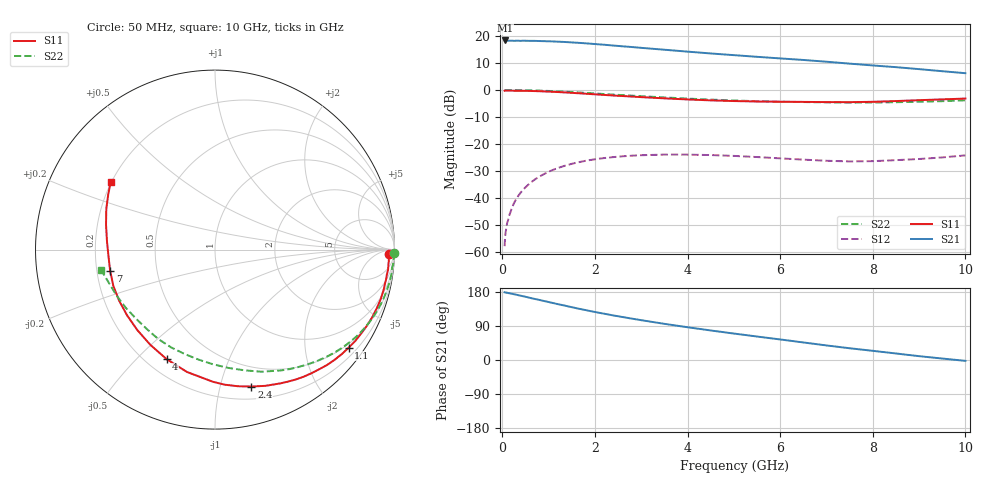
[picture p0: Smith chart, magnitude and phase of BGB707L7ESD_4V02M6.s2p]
! (c) 2009  Infineon Technologies AG, Munich
!  Infineon Technologies AG
!  BGB707L7ESD RU919007 w#7 Sample Build #08493 Teil Nr. 3
!  Vce = 4.0V, Ic = 2.6mA
!  DATUM: 30.06.2009 10:57:57
# GHz  S  MA  R  50
!f  S11  S21  S12  S22
!GHz  Mag  Ang  Mag  Ang  Mag  Ang  Mag  Ang
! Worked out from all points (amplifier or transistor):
!   52 points, 50 MHz to 10 GHz, reference 50 ohm
!   highest |S21| = 18.3 dB at 60 MHz (marker M1)
!   |S21| within 3 dB of that: start of sweep to 3.189 GHz
!   unconditionally stable (mu >= 1): 6.901 GHz to end of sweep
!   at 130 MHz: K = 0.06, MSG = 33.1 dB, |S12| = -47.8 dB
!   at 1.4 GHz: K = 0.08, MSG = 22.8 dB, |S12| = -27.8 dB
!   at 10 GHz: K = 1.05, MAG = 13.9 dB, |S12| = -24.2 dB
!   lowest NFmin = 0.40 dB at 100 MHz
!   S11 on the Smith chart (normalised r, x): 50 MHz: 36, -32; 1.1 GHz: 0.40, -3.01; 2.4 GHz: 0.31, -1.25; 4 GHz: 0.28, -0.61; 7 GHz: 0.26, -0.09; 10 GHz: 0.20, +0.29
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0.05  0.9694 -1.6  8.112 178.8  0.001279 68.5  0.9967 -1.0
0.06  0.9761 -2.0  8.259 178.5  0.001899 84.5  0.9974 -1.2
0.08  0.9698 -2.5  8.114 177.8  0.002559 81.6  0.9973 -1.8
0.09  0.9703 -3.1  8.182 178.2  0.002894 82.2  0.9971 -2.0
0.1  0.9694 -3.4  8.144 177.3  0.003239 83.0  0.9967 -2.2
0.15  0.97 -4.9  8.15 176.2  0.00474 84.0  0.9958 -3.4
0.35  0.9657 -11.6  8.152 170.9  0.01108 80.9  0.992 -8.0
0.7  0.9535 -23.3  8.115 161.2  0.02189 73.8  0.9783 -16.1
1.1  0.9237 -36.3  7.918 150.2  0.03323 65.1  0.9508 -25.1
1.5  0.8844 -48.8  7.596 139.3  0.04284 56.6  0.9138 -33.8
1.8  0.8526 -58.0  7.312 131.7  0.04874 50.7  0.8831 -39.9
2.2  0.8094 -69.7  6.884 122.1  0.05483 43.5  0.8413 -47.6
2.4  0.7894 -75.1  6.647 117.5  0.0571 40.1  0.8211 -51.2
2.8  0.7545 -85.9  6.238 109.1  0.06064 34.2  0.7843 -58.1
3.5  0.6995 -102.9  5.563 95.4  0.06351 25.5  0.7279 -69.2
4  0.6671 -113.8  5.13 86.4  0.06343 20.5  0.6924 -76.3
4.5  0.6415 -124.1  4.745 78.0  0.06226 16.7  0.6633 -83.6
5.5  0.6117 -143.2  4.112 62.0  0.05723 12.1  0.6195 -98.6
6.5  0.6013 -160.3  3.595 46.3  0.05128 13.3  0.5971 -114.3
7  0.5961 -168.6  3.336 38.4  0.04882 16.1  0.5899 -122.4
8.5  0.623 167.0  2.645 17.2  0.05013 29.9  0.5932 -146.8
10  0.6933 146.9  2.044 -2.3  0.06145 38.7  0.6433 -169.6
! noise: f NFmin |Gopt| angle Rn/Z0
0.1  0.4  0.63  2  0.21
0.45  0.47  0.63  4  0.21
0.9  0.57  0.65  13  0.2
1.8  0.64  0.51  35  0.2
5  1.07  0.41  77  0.19
10  1.82  0.45  -140  0.13
